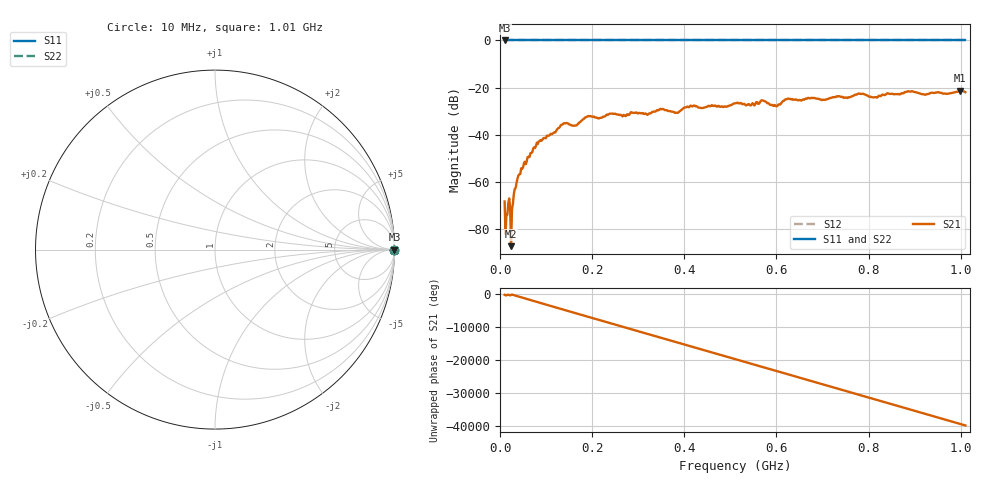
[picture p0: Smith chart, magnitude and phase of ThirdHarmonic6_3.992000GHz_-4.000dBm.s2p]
! 8/17/2025 2:14:27 PM
! C:\ANRITSUVNA\TEMP\TEMP.S2P
! CHANNEL.1
! TR.MEASUREMENT
! RAW.DATA
! RF.CORRECTION.OFF
! AVERAGING.OFF
! IF.BANDWIDTH: 5KHZ
! SWEEPTYPE:  FREQ.SWEEP(Linear)
! Reference Plane Port Info
! PORT:  PORT1  PORT2
! DISTANCE:  0  m  0  m
! TIME:  0  s  0  s
! PHASE.OFFSET:  0  deg.  0  deg.
! LOSS:  0  dB  0  dB
! REF.LOSS:  0  dB  0  dB
! REF.FREQ:  0  Hz  0  Hz
! Power Info
! POWER:  -20  dBm  -20  dBm
! EFF.POWER:  -20  dBm  -20  dBm
! SOURCE.ATTEN:  0  dB  0  dB
! TEST.ATTEN:  0  dB  0  dB
# GHZ S RI R 50.0
! FREQ.GHZ  S11RE  S11IM  S21RE  S21IM  S12RE  S12IM  S22RE  S22IM
!; PortSelection: Port_12
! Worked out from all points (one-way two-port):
!   501 points, 10 MHz to 1.01 GHz, reference 50 ohm
!   highest |S21| = -21.29 dB at 998 MHz (marker M1); lowest = -87.3 dB at 24 MHz (marker M2)
!   lowest |S11| = 0.0 dB at 10 MHz (marker M3)
!   |S11| at or under -10 dB: nowhere
!   |S22| runs from 0.0 to 0.0 dB; largest |S21 - S12| = 1.1
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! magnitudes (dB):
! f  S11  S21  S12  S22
! 10 MHz  0.0  -68.3  0.0  0.0
! 24 MHz  0.0  -87.3  0.0  0.0
! 28 MHz  0.0  -69.4  0.0  0.0
! 34 MHz  0.0  -62.5  0.0  0.0
! 42 MHz  0.0  -56.8  0.0  0.0
! 84 MHz  0.0  -42.9  0.0  0.0
! 136 MHz  0.0  -35.6  0.0  0.0
! 162 MHz  0.0  -36.1  0.0  0.0
! 178 MHz  0.0  -33.9  0.0  0.0
! 192 MHz  0.0  -32.0  0.0  0.0
! 322 MHz  0.0  -31.2  0.0  0.0
! 344 MHz  0.0  -29.6  0.0  0.0
! 384 MHz  0.0  -30.7  0.0  0.0
! 418 MHz  0.0  -28.0  0.0  0.0
! 510 MHz  0.0  -26.7  0.0  0.0
! 570 MHz  0.0  -25.4  0.0  0.0
! 598 MHz  0.0  -27.6  0.0  0.0
! 622 MHz  0.0  -24.9  0.0  0.0
! 678 MHz  0.0  -24.4  0.0  0.0
! 844 MHz  0.0  -22.6  0.0  0.0
! 998 MHz  0.0  -21.3  0.0  0.0
! 1.01 GHz  0.0  -22.0  0.0  0.0
